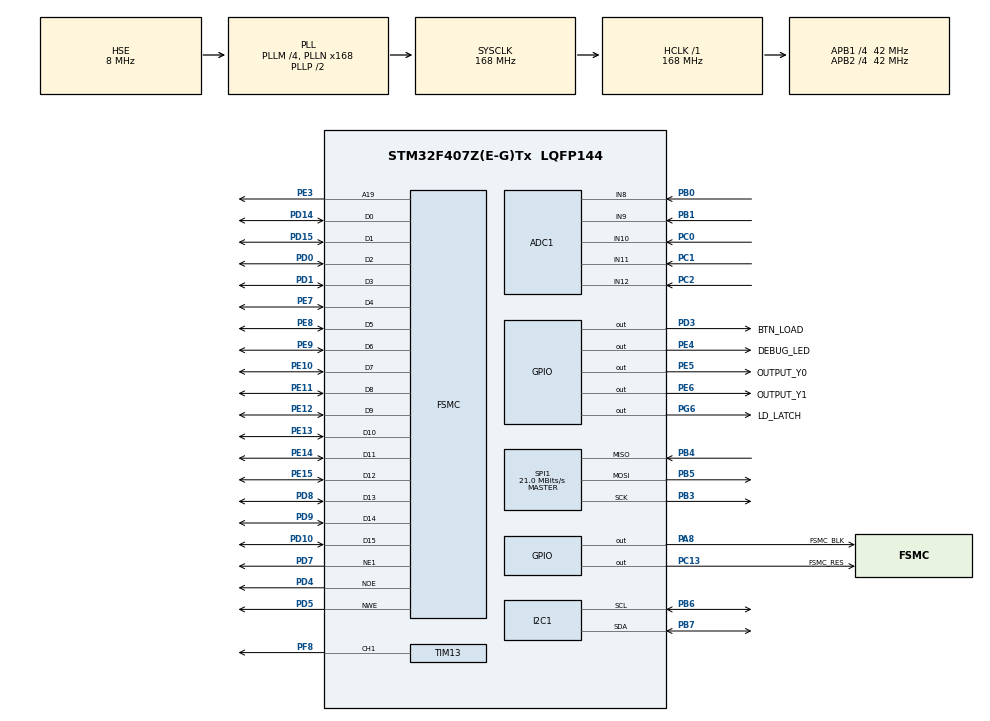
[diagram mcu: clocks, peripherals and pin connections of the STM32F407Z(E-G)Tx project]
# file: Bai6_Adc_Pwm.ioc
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ADC1.Channel-0\#ChannelRegularConversion=ADC_CHANNEL_8
ADC1.Channel-1\#ChannelRegularConversion=ADC_CHANNEL_9
ADC1.Channel-2\#ChannelRegularConversion=ADC_CHANNEL_10
ADC1.Channel-3\#ChannelRegularConversion=ADC_CHANNEL_11
ADC1.Channel-4\#ChannelRegularConversion=ADC_CHANNEL_12
ADC1.NbrOfConversion=5
ADC1.NbrOfConversionFlag=1
ADC1.Rank-0\#ChannelRegularConversion=1
ADC1.Rank-1\#ChannelRegularConversion=2
ADC1.Rank-2\#ChannelRegularConversion=3
ADC1.Rank-3\#ChannelRegularConversion=4
ADC1.Rank-4\#ChannelRegularConversion=5
ADC1.SamplingTime-0\#ChannelRegularConversion=ADC_SAMPLETIME_15CYCLES
ADC1.SamplingTime-1\#ChannelRegularConversion=ADC_SAMPLETIME_15CYCLES
ADC1.SamplingTime-2\#ChannelRegularConversion=ADC_SAMPLETIME_15CYCLES
ADC1.SamplingTime-3\#ChannelRegularConversion=ADC_SAMPLETIME_15CYCLES
ADC1.SamplingTime-4\#ChannelRegularConversion=ADC_SAMPLETIME_15CYCLES
ADC1.ScanConvMode=ENABLE
ADC1.master=1
Dma.ADC1.0.Direction=DMA_PERIPH_TO_MEMORY
Dma.ADC1.0.FIFOMode=DMA_FIFOMODE_DISABLE
Dma.ADC1.0.Instance=DMA2_Stream0
Dma.ADC1.0.MemDataAlignment=DMA_MDATAALIGN_HALFWORD
Dma.ADC1.0.MemInc=DMA_MINC_ENABLE
Dma.ADC1.0.Mode=DMA_CIRCULAR
Dma.ADC1.0.PeriphDataAlignment=DMA_PDATAALIGN_HALFWORD
Dma.ADC1.0.PeriphInc=DMA_PINC_DISABLE
Dma.ADC1.0.Priority=DMA_PRIORITY_LOW
Dma.Request0=ADC1
FSMC.AddressSetupTime1=0xf
FSMC.BusTurnAroundDuration1=0
FSMC.DataSetupTime1=60
FSMC.ExtendedAddressSetupTime1=9
FSMC.ExtendedBusTurnAroundDuration1=0
FSMC.ExtendedDataSetupTime1=8
FSMC.ExtendedMode1=FSMC_EXTENDED_MODE_ENABLE
Mcu.Family=STM32F4
Mcu.Name=STM32F407Z(E-G)Tx
Mcu.Package=LQFP144
NVIC.DMA2_Stream0_IRQn=true\:0\:0\:false\:false\:true\:false\:true
NVIC.PriorityGroup=NVIC_PRIORITYGROUP_4
NVIC.TIM2_IRQn=true\:0\:0\:false\:false\:true\:true\:true
PA13.Mode=Serial_Wire
PA13.Signal=SYS_JTMS-SWDIO
PA14.Mode=Serial_Wire
PA14.Signal=SYS_JTCK-SWCLK
PA8.GPIO_Label=FSMC_BLK
PA8.Signal=GPIO_Output
PB0.Signal=ADCx_IN8
PB1.Signal=ADCx_IN9
PB3.Mode=Full_Duplex_Master
PB3.Signal=SPI1_SCK
PB4.Mode=Full_Duplex_Master
PB4.Signal=SPI1_MISO
PB5.Mode=Full_Duplex_Master
PB5.Signal=SPI1_MOSI
PB6.Mode=I2C
PB6.Signal=I2C1_SCL
PB7.Mode=I2C
PB7.Signal=I2C1_SDA
PC0.Signal=ADCx_IN10
PC1.Signal=ADCx_IN11
PC13-ANTI_TAMP.GPIO_Label=FSMC_RES
PC13-ANTI_TAMP.Signal=GPIO_Output
PC2.Signal=ADCx_IN12
PD0.Signal=FSMC_D2_DA2
PD1.Signal=FSMC_D3_DA3
PD10.Signal=FSMC_D15_DA15
PD14.Signal=FSMC_D0_DA0
PD15.Signal=FSMC_D1_DA1
PD3.GPIO_Label=BTN_LOAD
PD3.Signal=GPIO_Output
PD4.Signal=FSMC_NOE
PD5.Signal=FSMC_NWE
PD7.Mode=NorPsramChipSelect1_1
PD7.Signal=FSMC_NE1
PD8.Signal=FSMC_D13_DA13
PD9.Signal=FSMC_D14_DA14
PE10.Signal=FSMC_D7_DA7
PE11.Signal=FSMC_D8_DA8
PE12.Signal=FSMC_D9_DA9
PE13.Signal=FSMC_D10_DA10
PE14.Signal=FSMC_D11_DA11
PE15.Signal=FSMC_D12_DA12
PE3.Signal=FSMC_A19
PE4.GPIO_Label=DEBUG_LED
PE4.Signal=GPIO_Output
PE5.GPIO_Label=OUTPUT_Y0
PE5.Signal=GPIO_Output
PE6.GPIO_Label=OUTPUT_Y1
PE6.Signal=GPIO_Output
PE7.Signal=FSMC_D4_DA4
PE8.Signal=FSMC_D5_DA5
PE9.Signal=FSMC_D6_DA6
PF8.Signal=S_TIM13_CH1
PG6.GPIO_Label=LD_LATCH
PG6.Signal=GPIO_Output
PH0-OSC_IN.Mode=HSE-External-Oscillator
PH0-OSC_IN.Signal=RCC_OSC_IN
PH1-OSC_OUT.Mode=HSE-External-Oscillator
PH1-OSC_OUT.Signal=RCC_OSC_OUT
ProjectManager.HeapSize=0x200
ProjectManager.StackSize=0x400
ProjectManager.TargetToolchain=STM32CubeIDE
RCC.48MHZClocksFreq_Value=84000000
RCC.AHBFreq_Value=168000000
RCC.APB1CLKDivider=RCC_HCLK_DIV4
RCC.APB1Freq_Value=42000000
RCC.APB1TimFreq_Value=84000000
RCC.APB2CLKDivider=RCC_HCLK_DIV4
RCC.APB2Freq_Value=42000000
RCC.APB2TimFreq_Value=84000000
RCC.CortexFreq_Value=168000000
RCC.HCLKFreq_Value=168000000
RCC.HSE_VALUE=8000000
RCC.HSI_VALUE=16000000
RCC.LSE_VALUE=32768
RCC.PLLM=4
RCC.PLLN=168
RCC.PLLSourceVirtual=RCC_PLLSOURCE_HSE
RCC.SYSCLKFreq_VALUE=168000000
RCC.SYSCLKSource=RCC_SYSCLKSOURCE_PLLCLK
RCC.VCOOutputFreq_Value=336000000
SH.ADCx_IN10.0=ADC1_IN10,IN10
SH.ADCx_IN11.0=ADC1_IN11,IN11
SH.ADCx_IN12.0=ADC1_IN12,IN12
SH.ADCx_IN8.0=ADC1_IN8,IN8
SH.ADCx_IN9.0=ADC1_IN9,IN9
SH.FSMC_A19.0=FSMC_A19,A19_1
SH.FSMC_D0_DA0.0=FSMC_D0,16b-d1
SH.FSMC_D10_DA10.0=FSMC_D10,16b-d1
SH.FSMC_D11_DA11.0=FSMC_D11,16b-d1
SH.FSMC_D12_DA12.0=FSMC_D12,16b-d1
SH.FSMC_D13_DA13.0=FSMC_D13,16b-d1
SH.FSMC_D14_DA14.0=FSMC_D14,16b-d1
SH.FSMC_D15_DA15.0=FSMC_D15,16b-d1
SH.FSMC_D1_DA1.0=FSMC_D1,16b-d1
SH.FSMC_D2_DA2.0=FSMC_D2,16b-d1
SH.FSMC_D3_DA3.0=FSMC_D3,16b-d1
SH.FSMC_D4_DA4.0=FSMC_D4,16b-d1
SH.FSMC_D5_DA5.0=FSMC_D5,16b-d1
SH.FSMC_D6_DA6.0=FSMC_D6,16b-d1
SH.FSMC_D7_DA7.0=FSMC_D7,16b-d1
SH.FSMC_D8_DA8.0=FSMC_D8,16b-d1
SH.FSMC_D9_DA9.0=FSMC_D9,16b-d1
SH.FSMC_NOE.0=FSMC_NOE,Lcd1
SH.FSMC_NWE.0=FSMC_NWE,Lcd1
SH.S_TIM13_CH1.0=TIM13_CH1,PWM Generation1 CH1
SPI1.CalculateBaudRate=21.0 MBits/s
SPI1.Direction=SPI_DIRECTION_2LINES
SPI1.Mode=SPI_MODE_MASTER
SPI1.VirtualType=VM_MASTER
TIM13.Channel=TIM_CHANNEL_1
TIM13.Period=100-1
TIM13.Prescaler=840-1
TIM2.Period=100-1
TIM2.Prescaler=840-1
VP_TIM13_VS_ClockSourceINT.Mode=Enable_Timer
VP_TIM2_VS_ClockSourceINT.Mode=Internal
board=custom

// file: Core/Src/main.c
/* USER CODE BEGIN Header */
/**
  ******************************************************************************
  * @file           : main.c
  * @brief          : Main program body
  ******************************************************************************
  * @attention
  *
  * <h2><center>&copy; Copyright (c) 2023 STMicroelectronics.
  * All rights reserved.</center></h2>
  *
  * This software component is licensed by ST under BSD 3-Clause license,
  * the "License"; You may not use this file except in compliance with the
  * License. You may obtain a copy of the License at:
  *                        opensource.org/licenses/BSD-3-Clause
  *
  ******************************************************************************
  */
/* USER CODE END Header */
#include "main.h"
#include "adc.h"
#include "dma.h"
#include "i2c.h"
#include "spi.h"
#include "tim.h"
#include "gpio.h"
#include "fsmc.h"

/* USER CODE BEGIN Includes */
#include "software_timer.h"
#include "button.h"
#include "led7seg.h"
#include "lcd.h"
#include "picture.h"
#include "ds3231.h"
#include "sensor.h"
#include "buzzer.h"
/* USER CODE END Includes */

/* USER CODE BEGIN PV */
uint8_t count_led_debug = 0;

uint16_t count_led7 = 0;
/* USER CODE END PV */

void SystemClock_Config(void);
/* USER CODE BEGIN PFP */
void system_init();
void test_LedDebug();
uint8_t isButtonUp();
uint8_t isButtonDown();
void test_Adc();
/* USER CODE END PFP */

int main(void)
{

  /* MCU Configuration--------------------------------------------------------*/

  /* Reset of all peripherals, Initializes the Flash interface and the Systick. */
  HAL_Init();

  /* Configure the system clock */
  SystemClock_Config();

  /* Initialize all configured peripherals */
  MX_GPIO_Init();
  MX_TIM2_Init();
  MX_SPI1_Init();
  MX_FSMC_Init();
  MX_DMA_Init();
  MX_ADC1_Init();
  MX_TIM13_Init();
  MX_I2C1_Init();
  /* USER CODE BEGIN 2 */
  system_init();
  led7_SetDigit(9, 0, 0);
  led7_SetDigit(4, 1, 1);
  led7_SetDigit(2, 2, 0);
  led7_SetDigit(7, 3, 0);
  led7_SetColon(0);
  led_On(6);
  led_Off(7);
  led_On(8);
  HAL_Delay(2000);
  lcd_Clear(BLACK);
  HAL_Delay(1000);
  lcd_Fill(0, 0, 240, 20, BLUE);
  lcd_StrCenter(0, 0, "Xin chao cac ban", WHITE, BLUE, 16, 0);
  lcd_ShowStr(30, 30, "Ten: Thinh", RED, YELLOW, 24, 0);
  lcd_ShowStr(30, 60, "Nam sinh:", GREEN, BLACK, 24, 0);
  lcd_ShowIntNum(150, 60, 2002, 4, BRED, BLACK, 24);
  lcd_ShowPicture(70, 200, 97, 100, gImage_bk);
  HAL_Delay(2000);

  /* USER CODE END 2 */

  /* Infinite loop */
  /* USER CODE BEGIN WHILE */
  while (1)
  {
	  while(!flag_timer2);
	  flag_timer2 = 0;
	  button_Scan();
	  test_LedDebug();
	  test_Adc();
	  buzzer_SetVolume((sensor_GetVarResistor()*50)/4095);
	  buzzer_Ring();
    /* USER CODE END WHILE */

  }
}

void SystemClock_Config(void)
{
  RCC_OscInitTypeDef RCC_OscInitStruct = {0};
  RCC_ClkInitTypeDef RCC_ClkInitStruct = {0};

  /** Configure the main internal regulator output voltage
  */
  __HAL_RCC_PWR_CLK_ENABLE();
  __HAL_PWR_VOLTAGESCALING_CONFIG(PWR_REGULATOR_VOLTAGE_SCALE1);
  /** Initializes the RCC Oscillators according to the specified parameters
  * in the RCC_OscInitTypeDef structure.
  */
  RCC_OscInitStruct.OscillatorType = RCC_OSCILLATORTYPE_HSE;
  RCC_OscInitStruct.HSEState = RCC_HSE_ON;
  RCC_OscInitStruct.PLL.PLLState = RCC_PLL_ON;
  RCC_OscInitStruct.PLL.PLLSource = RCC_PLLSOURCE_HSE;
  RCC_OscInitStruct.PLL.PLLM = 4;
  RCC_OscInitStruct.PLL.PLLN = 168;
  RCC_OscInitStruct.PLL.PLLP = RCC_PLLP_DIV2;
  RCC_OscInitStruct.PLL.PLLQ = 4;
  if (HAL_RCC_OscConfig(&RCC_OscInitStruct) != HAL_OK)
  {
    Error_Handler();
  }
  /** Initializes the CPU, AHB and APB buses clocks
  */
  RCC_ClkInitStruct.ClockType = RCC_CLOCKTYPE_HCLK|RCC_CLOCKTYPE_SYSCLK
                              |RCC_CLOCKTYPE_PCLK1|RCC_CLOCKTYPE_PCLK2;
  RCC_ClkInitStruct.SYSCLKSource = RCC_SYSCLKSOURCE_PLLCLK;
  RCC_ClkInitStruct.AHBCLKDivider = RCC_SYSCLK_DIV1;
  RCC_ClkInitStruct.APB1CLKDivider = RCC_HCLK_DIV4;
  RCC_ClkInitStruct.APB2CLKDivider = RCC_HCLK_DIV4;

  if (HAL_RCC_ClockConfig(&RCC_ClkInitStruct, FLASH_LATENCY_5) != HAL_OK)
  {
    Error_Handler();
  }
}

/* USER CODE BEGIN 4 */
void system_init(){
	  HAL_GPIO_WritePin(OUTPUT_Y0_GPIO_Port, OUTPUT_Y0_Pin, 0);
	  HAL_GPIO_WritePin(OUTPUT_Y1_GPIO_Port, OUTPUT_Y1_Pin, 0);
	  HAL_GPIO_WritePin(DEBUG_LED_GPIO_Port, DEBUG_LED_Pin, 0);
	  timer_init();
	  led7_init();
	  button_init();
	  lcd_init();
	  ds3231_init();
	  sensor_init();
	  buzzer_init();
	  setTimer2(50);
	  HAL_Delay(1000);
}

void test_LedDebug(){
	count_led_debug = (count_led_debug + 1)%20;
	if(count_led_debug == 0){
		HAL_GPIO_TogglePin(DEBUG_LED_GPIO_Port, DEBUG_LED_Pin);
	}
}

uint8_t isButtonUp(){
	if(button_count[3] == 1 || (button_count[3] > 20 && button_count[3]%2 == 0)){
		return 1;
	} else return 0;
}

uint8_t isButtonDown(){
	if(button_count[7] == 1){
		return 1;
	} else return 0;
}

uint8_t count_adc = 0;

void test_Adc(){
	count_adc = (count_adc + 1)%20;
	if(count_adc == 0){
		sensor_Read();
		lcd_ShowStr(10, 100, "Voltage:", RED, BLACK, 16, 0);
//		lcd_ShowIntNum(130, 100, adc_receive[0], 4, RED, BLACK, 16);
		lcd_ShowFloatNum1(130, 100,sensor_GetVoltage(), 4, RED, BLACK, 16);
		lcd_ShowStr(10, 120, "Current:", RED, BLACK, 16, 0);
//		lcd_ShowIntNum(130, 120, adc_receive[1], 4, RED, BLACK, 16);
		lcd_ShowFloatNum1(130, 120,sensor_GetCurrent(), 4, RED, BLACK, 16);
		lcd_ShowStr(10, 140, "Light:", RED, BLACK, 16, 0);
		lcd_ShowIntNum(130, 140, adc_receive[2], 4, RED, BLACK, 16);
		lcd_ShowStr(10, 160, "Resistor:", RED, BLACK, 16, 0);
		lcd_ShowIntNum(130, 160, adc_receive[3], 4, RED, BLACK, 16);
		lcd_ShowStr(10, 180, "Temperature:", RED, BLACK, 16, 0);
//		lcd_ShowIntNum(130, 180, adc_receive[4], 4, RED, BLACK, 16);
		lcd_ShowFloatNum1(130, 180,sensor_GetTemperature(), 4, RED, BLACK, 16);
	}
}

/* USER CODE END 4 */

void Error_Handler(void)
{
  __disable_irq();
  while (1)
  {
  }
}

/************************ (C) COPYRIGHT STMicroelectronics *****END OF FILE****/
